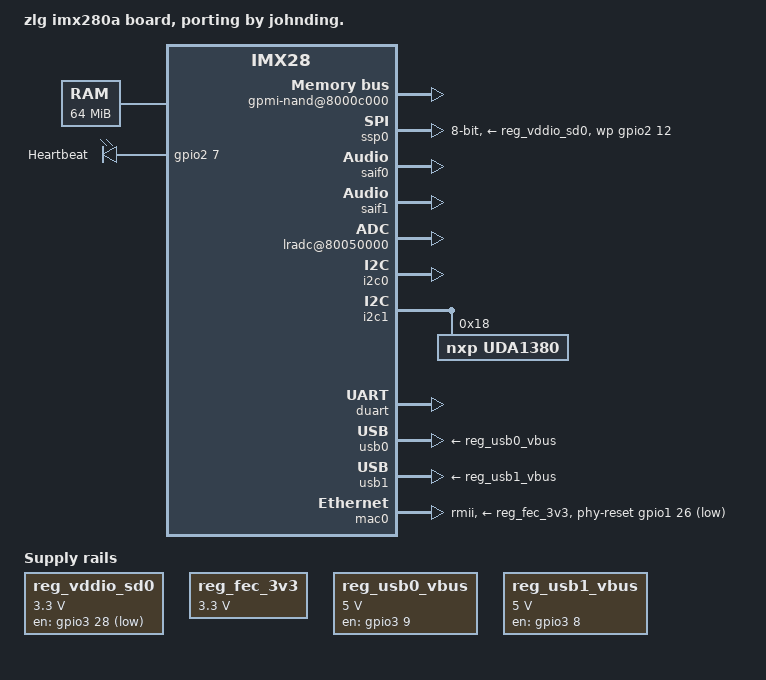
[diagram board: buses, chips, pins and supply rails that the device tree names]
/*
 * Copyright 2012 Freescale Semiconductor, Inc.
 *
 * The code contained herein is licensed under the GNU General Public
 * License. You may obtain a copy of the GNU General Public License
 * Version 2 or later at the following locations:
 *
 * http://www.opensource.org/licenses/gpl-license.html
 * http://www.gnu.org/copyleft/gpl.html
 */

/dts-v1/;
#include "imx28.dtsi"

/ {
	model = "zlg imx280a board, porting by johnding.";
	compatible = "fsl,imx28-imx280a", "fsl,imx28";

	memory {
		reg = <0x40000000 0x04000000>;
	};

	apb@80000000 {
		apbh@80000000 {
			gpmi-nand@8000c000 {
				pinctrl-names = "default";
				pinctrl-0 = <&gpmi_pins_a &gpmi_status_cfg
					     &gpmi_pins_evk>;
				status = "okay";
			};

			ssp0: ssp@80010000 {
				compatible = "fsl,imx28-mmc";
				pinctrl-names = "default";
				pinctrl-0 = <&mmc0_4bit_pins_a
					&mmc0_cd_cfg &mmc0_sck_cfg>;
				bus-width = <8>;
				wp-gpios = <&gpio2 12 0>;
				vmmc-supply = <&reg_vddio_sd0>;
				status = "okay";
			};

			pinctrl@80018000 {
				pinctrl-names = "default";
				pinctrl-0 = <&hog_pins_a>;

				hog_pins_a: hog@0 {
					reg = <0>;
					fsl,pinmux-ids = <
                        MX28_PAD_SSP0_DATA6__GPIO_2_6   /* buzzer */
                        MX28_PAD_LCD_RS__GPIO_1_26      /* eth phy rst */
					>;
					fsl,drive-strength = <MXS_DRIVE_4mA>;
					fsl,voltage = <MXS_VOLTAGE_HIGH>;
					fsl,pull-up = <MXS_PULL_DISABLE>;
				};

				led_pin_gpios: led_gpios@0 {
					reg = <0>;
					fsl,pinmux-ids = <
						MX28_PAD_SSP0_DATA7__GPIO_2_7   /* RUN LED */
					>;
					fsl,drive-strength = <MXS_DRIVE_4mA>;
					fsl,voltage = <MXS_VOLTAGE_HIGH>;
					fsl,pull-up = <MXS_PULL_DISABLE>;
				};

				gpmi_pins_evk: gpmi-nand-evk@0 {
					reg = <0>;
					fsl,pinmux-ids = <
						MX28_PAD_GPMI_CE1N__GPMI_CE1N
						MX28_PAD_GPMI_RDY1__GPMI_READY1
					>;
					fsl,drive-strength = <MXS_DRIVE_4mA>;
					fsl,voltage = <MXS_VOLTAGE_HIGH>;
					fsl,pull-up = <MXS_PULL_DISABLE>;
				};
			};
		};

		apbx@80040000 {
			saif0: saif@80042000 {
				pinctrl-names = "default";
				pinctrl-0 = <&saif0_pins_a>;
				status = "okay";
			};

            saif1: saif@80046000 {
				pinctrl-names = "default";
				pinctrl-0 = <&saif1_pins_a>;
                fsl,saif-master = <&saif0>;
				status = "okay";
			};

			lradc@80050000 {
				status = "okay";
				fsl,lradc-touchscreen-wires = <4>;
				fsl,ave-ctrl = <4>;
				fsl,ave-delay = <2>;
				fsl,settling = <10>;
			};

			i2c0: i2c@80058000 {
				pinctrl-names = "default";
				pinctrl-0 = <&i2c0_pins_a>;
				status = "okay";
			};

			i2c1: i2c@8005a000 {
				pinctrl-names = "default";
				pinctrl-0 = <&i2c1_pins_a>;
				status = "okay";

                uda1380: uda1380@18 {
                    compatible = "nxp,uda1380";
                    reg = <0x18>;
                    dac-clk = <0>;  // 0 is sysclk.
                };
			};

			duart: serial@80074000 {
				pinctrl-names = "default";
				pinctrl-0 = <&duart_pins_b>;
				status = "okay";
			};

			usbphy0: usbphy@8007c000 {
				status = "okay";
			};

			usbphy1: usbphy@8007e000 {
				status = "okay";
			};
		};
	};

	ahb@80080000 {
		usb0: usb@80080000 {
			pinctrl-names = "default";
			pinctrl-0 = <&usb0_id_pins_b>;
			vbus-supply = <&reg_usb0_vbus>;
			status = "okay";
		};

		usb1: usb@80090000 {
			vbus-supply = <&reg_usb1_vbus>;
			status = "okay";
		};

		mac0: ethernet@800f0000 {
			phy-mode = "rmii";
			pinctrl-names = "default";
			pinctrl-0 = <&mac0_pins_b>;
			phy-supply = <&reg_fec_3v3>;
			phy-reset-gpios = <&gpio1 26 GPIO_ACTIVE_LOW>;
			phy-reset-duration = <100>;
			status = "okay";
		};
	};

	regulators {
		compatible = "simple-bus";
		#address-cells = <1>;
		#size-cells = <0>;

		reg_vddio_sd0: regulator@1 {
			compatible = "regulator-fixed";
			reg = <1>;
			regulator-name = "vddio-sd0";
			regulator-min-microvolt = <3300000>;
			regulator-max-microvolt = <3300000>;
			gpio = <&gpio3 28 0>;
		};

		reg_fec_3v3: regulator@2 {
			compatible = "regulator-fixed";
			reg = <2>;
			regulator-name = "fec-3v3";
			regulator-min-microvolt = <3300000>;
			regulator-max-microvolt = <3300000>;
			regulator-always-on;
		};

		reg_usb0_vbus: regulator@3 {
			compatible = "regulator-fixed";
			reg = <3>;
			regulator-name = "usb0_vbus";
			regulator-min-microvolt = <5000000>;
			regulator-max-microvolt = <5000000>;
			gpio = <&gpio3 9 0>;
			enable-active-high;
		};

		reg_usb1_vbus: regulator@4 {
			compatible = "regulator-fixed";
			reg = <4>;
			regulator-name = "usb1_vbus";
			regulator-min-microvolt = <5000000>;
			regulator-max-microvolt = <5000000>;
			gpio = <&gpio3 8 0>;
			enable-active-high;
		};
	};

	sound {
		compatible = "fsl,mxs-imx280a-uda1380";
		model = "mxs-imx280a-uda1380";
		saif-controllers = <&saif0 &saif1>;
		audio-codec = <&uda1380>;
	};

	leds {
		compatible = "gpio-leds";
		pinctrl-names = "default";
		pinctrl-0 = <&led_pin_gpios>;

        user_run {
			label = "Heartbeat";
			gpios = <&gpio2 7 0>;
			linux,default-trigger = "heartbeat";
		};
	};
};
